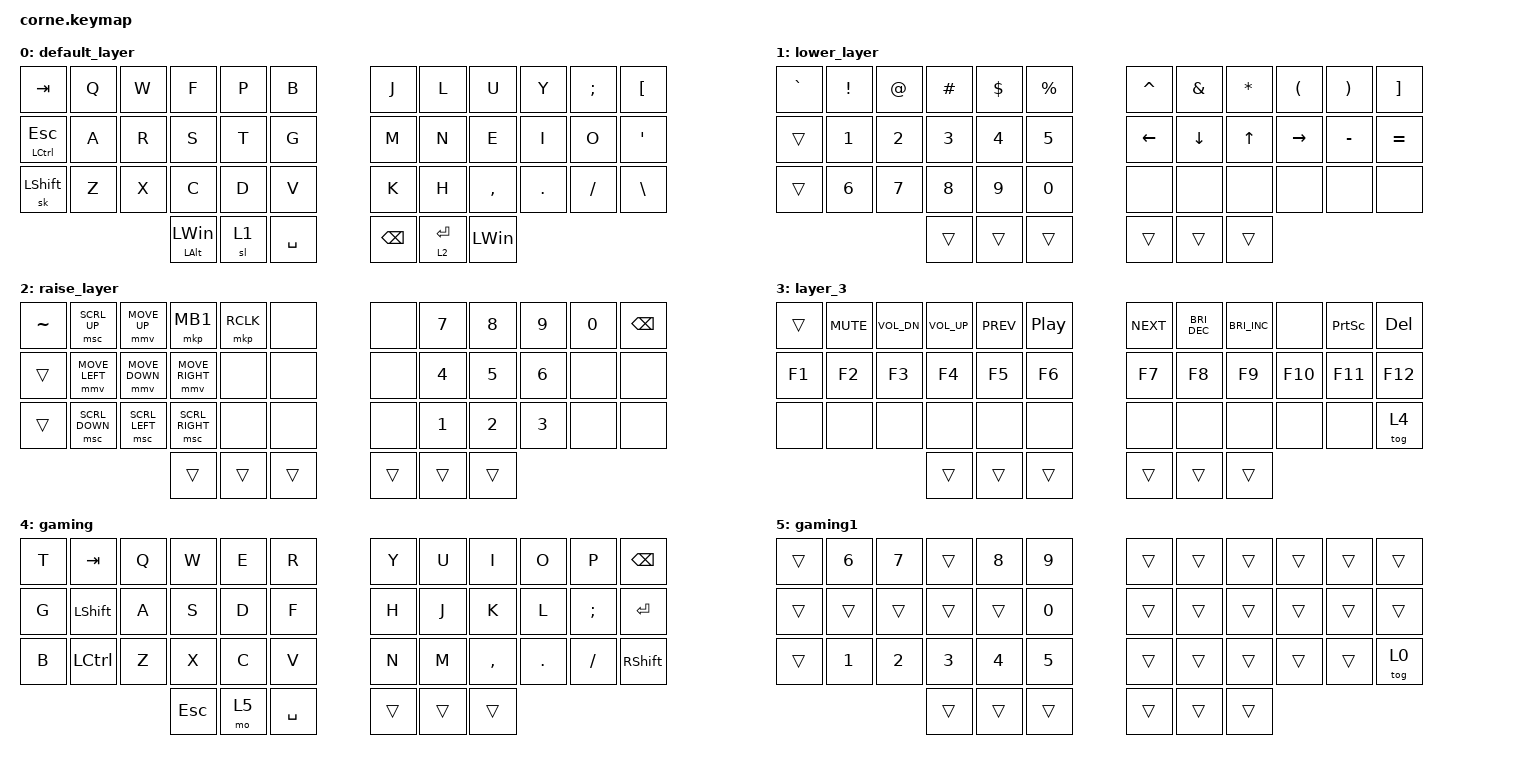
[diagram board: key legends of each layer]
/*
 * Copyright (c) 2020 The ZMK Contributors
 *
 * SPDX-License-Identifier: MIT
 */

#include <behaviors.dtsi>
#include <dt-bindings/zmk/bt.h>
#include <dt-bindings/zmk/keys.h>
#include <dt-bindings/zmk/pointing.h>

&sl {
    ignore-modifiers;

    /delete-property/ quick-release;
};

&sk { quick-release; };

/ {
    combos {
        compatible = "zmk,combos";

        bt_clear {
            bindings = <&bt BT_CLR>;
            key-positions = <24 30>;
            layers = <1>;
        };

        bt_nxt {
            bindings = <&bt BT_NXT>;
            key-positions = <24 31>;
            layers = <1>;
        };

        bt_prv {
            bindings = <&bt BT_PRV>;
            key-positions = <24 32>;
            layers = <1>;
        };

        workspace_1 {
            bindings = <&kp LA(NUMBER_1)>;
            key-positions = <37 1>;
            layers = <0>;
        };
    };

    behaviors {
        tap_toggle_layer_1: tap_toggle_layer_1 {
            compatible = "zmk,behavior-tap-dance";
            label = "TAP_TOGGLE_LAYER_1";
            #binding-cells = <0>;
            bindings = <&sl 1>, <&tog 1>;
        };
    };

    keymap {
        compatible = "zmk,keymap";

        default_layer {
            // -----------------------------------------------------------------------------------------
            // |  TAB |  Q  |  W  |  E  |  R  |  T  |   |  Y  |  U   |  I  |  O  |  P  | BKSP |
            // | CTRL |  A  |  S  |  D  |  F  |  G  |   |  H  |  J   |  K  |  L  |  ;  |  '   |
            // | SHFT |  Z  |  X  |  C  |  V  |  B  |   |  N  |  M   |  ,  |  .  |  /  | ESC  |
            //                    | GUI | LWR | SPC |   | ENT | RSE  | ALT |

            bindings = <
&kp TAB           &kp Q  &kp W  &kp F                  &kp P  &kp B        &kp J          &kp L         &kp U         &kp Y    &kp SEMI  &kp LBKT
&mt LCTRL ESCAPE  &kp A  &kp R  &kp S                  &kp T  &kp G        &kp M          &kp N         &kp E         &kp I    &kp O     &kp SQT
&sk LSHFT         &kp Z  &kp X  &kp C                  &kp D  &kp V        &kp K          &kp H         &kp COMMA     &kp DOT  &kp FSLH  &kp BACKSLASH
                                &mt LEFT_ALT LEFT_WIN  &sl 1  &kp SPACE    &kp BACKSPACE  &lt 2 RETURN  &kp LEFT_WIN
            >;
        };

        lower_layer {
            // -----------------------------------------------------------------------------------------
            // |  TAB |  1  |  2  |  3  |  4  |  5  |   |  6  |  7  |  8  |  9  |  0  | BKSP |
            // | BTCLR| BT1 | BT2 | BT3 | BT4 | BT5 |   | LFT | DWN |  UP | RGT |     |      |
            // | SHFT |     |     |     |     |     |   |     |     |     |     |     |      |
            //                    | GUI |     | SPC |   | ENT |     | ALT |

            bindings = <
&kp GRAVE  &kp EXCL  &kp AT  &kp HASH  &kp DOLLAR  &kp PERCENT    &kp CARET  &kp AMPERSAND  &kp STAR  &kp LEFT_PARENTHESIS  &kp RIGHT_PARENTHESIS  &kp RIGHT_BRACKET
&trans     &kp N1    &kp N2  &kp N3    &kp N4      &kp N5         &kp LEFT   &kp DOWN       &kp UP    &kp RIGHT             &kp MINUS              &kp EQUAL
&trans     &kp N6    &kp N7  &kp N8    &kp N9      &kp N0         &none      &none          &none     &none                 &none                  &none
                             &trans    &trans      &trans         &trans     &trans         &trans
            >;
        };

        raise_layer {
            // -----------------------------------------------------------------------------------------
            // |  TAB |  !  |  @  |  #  |  $  |  %  |   |  ^  |  &  |  *  |  (  |  )  | BKSP |
            // | CTRL |     |     |     |     |     |   |  -  |  =  |  [  |  ]  |  \  |  `   |
            // | SHFT |     |     |     |     |     |   |  _  |  +  |  {  |  }  | "|" |  ~   |
            //                    | GUI |     | SPC |   | ENT |     | ALT |

            bindings = <
&kp TILDE  &msc SCRL_UP    &mmv MOVE_UP    &mkp MB1         &mkp RCLK  &none     &none   &kp N7  &kp N8  &kp NUMBER_9  &kp NUMBER_0  &kp BACKSPACE
&trans     &mmv MOVE_LEFT  &mmv MOVE_DOWN  &mmv MOVE_RIGHT  &none      &none     &none   &kp N4  &kp N5  &kp N6        &none         &none
&trans     &msc SCRL_DOWN  &msc SCRL_LEFT  &msc SCRL_RIGHT  &none      &none     &none   &kp N1  &kp N2  &kp N3        &none         &none
                                           &trans           &trans     &trans    &trans  &trans  &trans
            >;
        };

        layer_3 {
            bindings = <
&trans  &kp C_MUTE  &kp C_VOL_DN  &kp C_VOL_UP  &kp C_PREV  &kp C_PLAY_PAUSE    &kp C_NEXT  &kp C_BRIGHTNESS_DEC  &kp C_BRIGHTNESS_INC  &none    &kp PRINTSCREEN  &kp DELETE
&kp F1  &kp F2      &kp F3        &kp F4        &kp F5      &kp F6              &kp F7      &kp F8                &kp F9                &kp F10  &kp F11          &kp F12
&none   &none       &none         &none         &none       &none               &none       &none                 &none                 &none    &none            &tog 4
                                  &trans        &trans      &trans              &trans      &trans                &trans
            >;
        };

        gaming_layer {
            bindings = <
&kp T  &kp TAB    &kp Q  &kp W    &kp E  &kp R        &kp Y   &kp U   &kp I      &kp O    &kp P     &kp BSPC
&kp G  &kp LSHFT  &kp A  &kp S    &kp D  &kp F        &kp H   &kp J   &kp K      &kp L    &kp SEMI  &kp ENTER
&kp B  &kp LCTRL  &kp Z  &kp X    &kp C  &kp V        &kp N   &kp M   &kp COMMA  &kp DOT  &kp FSLH  &kp RSHFT
                         &kp ESC  &mo 5  &kp SPACE    &trans  &trans  &trans
            >;

            label = "gaming";
        };

        gaming_layer_1 {
            bindings = <
&trans  &kp N6  &kp N7  &trans  &kp N8  &kp N9    &trans  &trans  &trans  &trans  &trans  &trans
&trans  &trans  &trans  &trans  &trans  &kp N0    &trans  &trans  &trans  &trans  &trans  &trans
&trans  &kp N1  &kp N2  &kp N3  &kp N4  &kp N5    &trans  &trans  &trans  &trans  &trans  &tog 0
                        &trans  &trans  &trans    &trans  &trans  &trans
            >;

            label = "gaming1";
        };
    };

    conditional_layers {
        compatible = "zmk,conditional-layers";

        function_layer {
            if-layers = <1 2>;
            then-layer = <3>;
        };
    };
};
